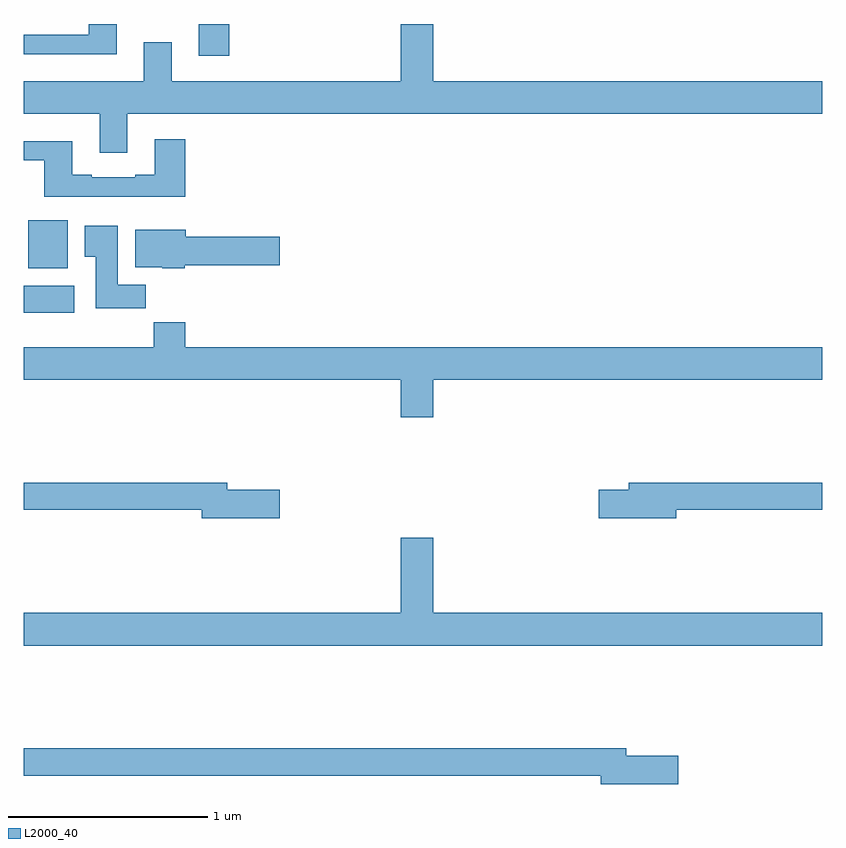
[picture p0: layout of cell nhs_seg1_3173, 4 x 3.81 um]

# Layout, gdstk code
import gdstk
lib = gdstk.Library(unit=1e-6, precision=1e-09)
def R(c, l, rs):  # rectangles x0, y0, x1, y1
    for r in rs: c.add(gdstk.rectangle(r[:2], r[2:], *l))
def P(c, l, *ps):  # polygons
    for p in ps: c.add(gdstk.Polygon(p, *l))
L2000_40 = (2000, 40)

nhs_seg1_3173 = lib.new_cell('nhs_seg1_3173')
R(nhs_seg1_3173, L2000_40, [(283,534.752,283.252,534.886), (283.022,534.974,283.219,535.216), (283.877,536.04,284.03,536.199)])
P(nhs_seg1_3173, L2000_40, [(283.519,535.748),(287,535.748),(287,535.912),(285.052,535.912),(285.052,536.199),(284.888,536.199),(284.888,535.912),(283.741,535.912),(283.741,536.107),(283.601,536.107),(283.601,535.912),(283,535.912),(283,535.748),(283.379,535.748),(283.379,535.554),(283.519,535.554)],
  [(283.465,536.199),(283.325,536.199),(283.325,536.145),(283,536.145),(283,536.048),(283.465,536.048)],
  [(283.808,535.621),(283.655,535.621),(283.655,535.444),(283.559,535.444),(283.559,535.431),(283.339,535.431),(283.339,535.444),(283.243,535.444),(283.243,535.612),(283,535.612),(283,535.515),(283.103,535.515),(283.103,535.334),(283.808,535.334)],
  [(283.61,534.892),(283.471,534.892),(283.471,535.189),(283.304,535.189),(283.304,535.033),(283.361,535.033),(283.361,534.774),(283.61,534.774)],
  [(283.806,534.991),(284.281,534.991),(284.281,535.133),(283.81,535.133),(283.81,535.168),(283.559,535.168),(283.559,534.98),(283.692,534.98),(283.692,534.974),(283.806,534.974)],
  [(285.052,534.416),(287,534.416),(287,534.58),(283.808,534.58),(283.808,534.704),(283.651,534.704),(283.651,534.58),(283,534.58),(283,534.416),(284.888,534.416),(284.888,534.228),(285.052,534.228)],
  [(286.27,533.764),(287,533.764),(287,533.9),(286.031,533.9),(286.031,533.864),(285.882,533.864),(285.882,533.722),(286.27,533.722)],
  [(284.281,533.864),(284.02,533.864),(284.02,533.9),(283,533.9),(283,533.764),(283.892,533.764),(283.892,533.722),(284.281,533.722)],
  [(287,533.248),(285.052,533.248),(285.052,533.623),(284.888,533.623),(284.888,533.248),(283,533.248),(283,533.084),(287,533.084)],
  [(286.279,532.532),(286.018,532.532),(286.018,532.568),(283,532.568),(283,532.432),(285.89,532.432),(285.89,532.39),(286.279,532.39)])

lib.write_gds('nhs_seg1_3173.gds')
